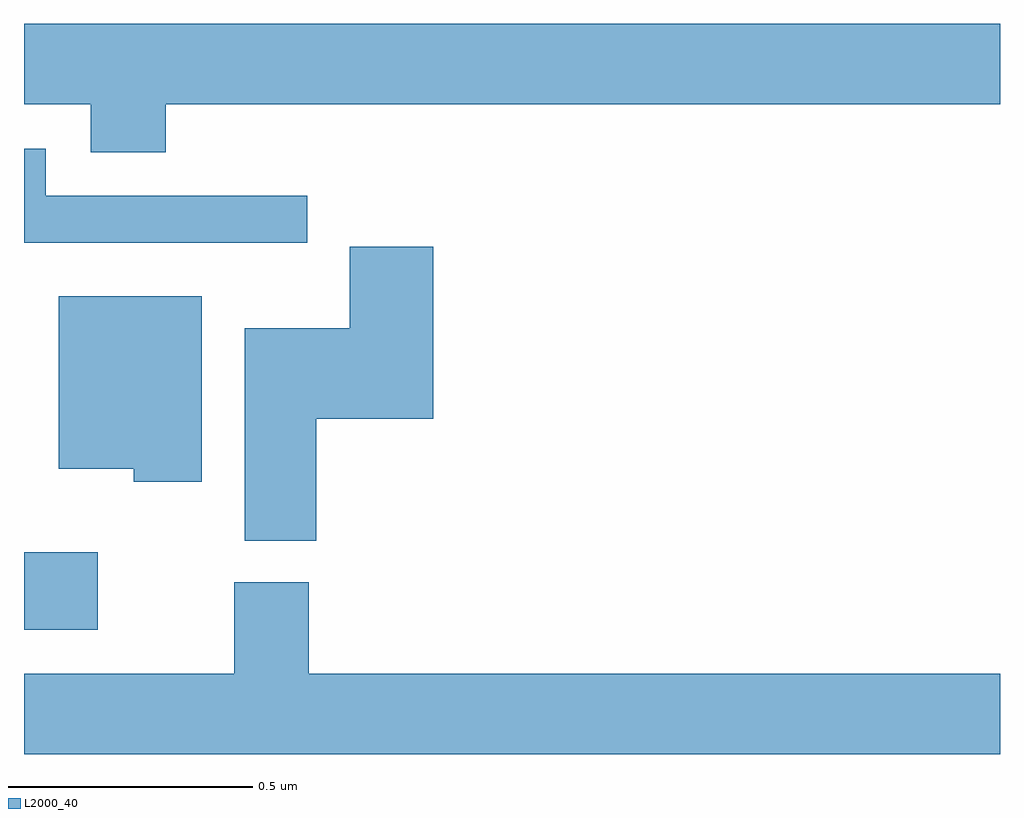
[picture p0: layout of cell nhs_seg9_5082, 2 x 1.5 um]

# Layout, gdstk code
import gdstk
lib = gdstk.Library(unit=1e-6, precision=1e-09)
def R(c, l, rs):  # rectangles x0, y0, x1, y1
    for r in rs: c.add(gdstk.rectangle(r[:2], r[2:], *l))
def P(c, l, *ps):  # polygons
    for p in ps: c.add(gdstk.Polygon(p, *l))
L2000_40 = (2000, 40)

nhs_seg9_5082 = lib.new_cell('nhs_seg9_5082')
R(nhs_seg9_5082, L2000_40, [(174,1241.963,174.151,1242.121)])
P(nhs_seg9_5082, L2000_40, [(174.29,1243.04),(176,1243.04),(176,1243.204),(174,1243.204),(174,1243.04),(174.137,1243.04),(174.137,1242.941),(174.29,1242.941)],
  [(174.58,1242.852),(174.045,1242.852),(174.045,1242.948),(174,1242.948),(174,1242.756),(174.58,1242.756)],
  [(174.599,1242.395),(174.839,1242.395),(174.839,1242.748),(174.668,1242.748),(174.668,1242.58),(174.452,1242.58),(174.452,1242.145),(174.599,1242.145)],
  [(174.364,1242.646),(174.071,1242.646),(174.071,1242.293),(174.225,1242.293),(174.225,1242.266),(174.364,1242.266)],
  [(176,1241.872),(174.584,1241.872),(174.584,1242.06),(174.431,1242.06),(174.431,1241.872),(174,1241.872),(174,1241.708),(176,1241.708)])

lib.write_gds('nhs_seg9_5082.gds')
